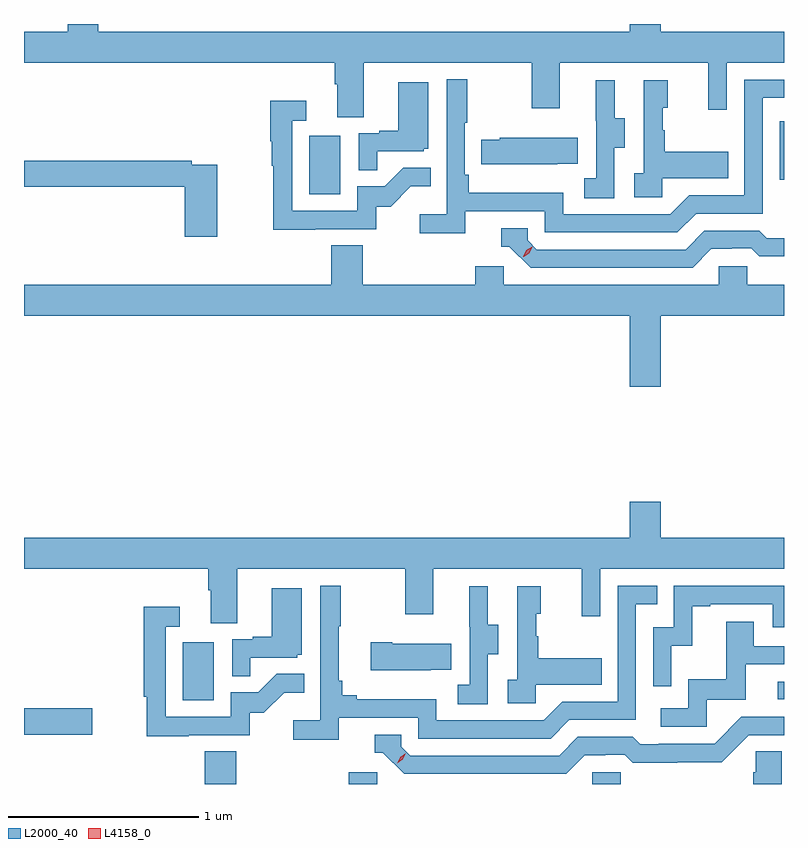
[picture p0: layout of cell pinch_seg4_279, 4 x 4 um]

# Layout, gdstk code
import gdstk
lib = gdstk.Library(unit=1e-6, precision=1e-09)
def R(c, l, rs):  # rectangles x0, y0, x1, y1
    for r in rs: c.add(gdstk.rectangle(r[:2], r[2:], *l))
def P(c, l, *ps):  # polygons
    for p in ps: c.add(gdstk.Polygon(p, *l))
L2000_40 = (2000, 40)
L4158_0 = (4158, 0)

pinch_seg4_279 = lib.new_cell('pinch_seg4_279')
R(pinch_seg4_279, L2000_40, [(894.041,805.012,894.206,805.184), (894.797,805.012,894.948,805.074), (896.079,805.012,896.229,805.074), (893.089,805.27,893.449,805.412), (893.924,805.452,894.088,805.759), (897.057,805.458,897.089,805.551), (894.59,808.116,894.754,808.423), (897.066,808.191,897.089,808.5)])
P(pinch_seg4_279, L2000_40, [(894.877,808.808),(895.762,808.808),(895.762,808.569),(895.909,808.569),(895.909,808.808),(896.69,808.808),(896.69,808.56),(896.787,808.56),(896.787,808.808),(897.089,808.808),(897.089,808.972),(896.44,808.972),(896.44,809.012),(896.276,809.012),(896.276,808.972),(893.48,808.972),(893.48,809.012),(893.32,809.012),(893.32,808.972),(893.089,808.972),(893.089,808.808),(894.725,808.808),(894.725,808.696),(894.737,808.696),(894.737,808.522),(894.877,808.522)],
  [(895.412,808.026),(895.83,808.026),(895.83,807.915),(896.527,807.915),(896.626,808.014),(896.976,808.014),(896.976,808.623),(897.089,808.623),(897.089,808.719),(896.88,808.719),(896.88,808.11),(896.589,808.11),(896.49,808.011),(895.926,808.011),(895.926,808.123),(895.43,808.123),(895.43,808.219),(895.41,808.219),(895.41,808.492),(895.423,808.492),(895.423,808.72),(895.314,808.72),(895.314,808.012),(895.173,808.012),(895.173,807.91),(895.412,807.91)],
  [(896.448,808.199),(896.795,808.199),(896.795,808.339),(896.461,808.339),(896.461,808.454),(896.451,808.454),(896.451,808.572),(896.476,808.572),(896.476,808.717),(896.352,808.717),(896.352,808.226),(896.301,808.226),(896.301,808.101),(896.448,808.101)],
  [(896.196,808.36),(896.251,808.36),(896.251,808.515),(896.197,808.515),(896.197,808.717),(896.099,808.717),(896.099,808.503),(896.1,808.503),(896.1,808.199),(896.037,808.199),(896.037,808.096),(896.196,808.096)],
  [(894.947,808.341),(895.194,808.341),(895.194,808.356),(895.216,808.356),(895.216,808.705),(895.058,808.705),(895.058,808.45),(894.959,808.45),(894.959,808.437),(894.852,808.437),(894.852,808.243),(894.947,808.243)],
  [(894.623,807.933),(894.942,807.933),(894.942,808.05),(895.018,808.05),(895.125,808.157),(895.229,808.157),(895.229,808.256),(895.085,808.256),(894.987,808.158),(894.843,808.158),(894.843,808.029),(894.501,808.029),(894.501,808.503),(894.574,808.503),(894.574,808.609),(894.385,808.609),(894.385,808.396),(894.393,808.396),(894.393,808.266),(894.4,808.266),(894.4,807.928),(894.623,807.928)],
  [(895.895,808.277),(896.003,808.277),(896.003,808.414),(895.593,808.414),(895.593,808.404),(895.495,808.404),(895.495,808.274),(895.895,808.274)],
  [(894.106,808.272),(893.972,808.272),(893.972,808.292),(893.089,808.292),(893.089,808.156),(893.936,808.156),(893.936,807.891),(894.106,807.891)],
  [(896.707,807.828),(896.814,807.828),(896.814,807.831),(896.917,807.831),(896.959,807.789),(897.089,807.789),(897.089,807.885),(896.998,807.885),(896.959,807.924),(896.67,807.924),(896.571,807.825),(895.788,807.825),(895.74,807.873),(895.74,807.936),(895.601,807.936),(895.601,807.84),(895.644,807.84),(895.755,807.729),(896.608,807.729)],
  [(896.44,807.476),(897.089,807.476),(897.089,807.64),(896.895,807.64),(896.895,807.738),(896.745,807.738),(896.745,807.64),(895.614,807.64),(895.614,807.738),(895.463,807.738),(895.463,807.64),(894.872,807.64),(894.872,807.848),(894.707,807.848),(894.707,807.64),(893.089,807.64),(893.089,807.476),(896.276,807.476),(896.276,807.102),(896.44,807.102)],
  [(894.211,806.144),(895.096,806.144),(895.096,805.905),(895.243,805.905),(895.243,806.144),(896.024,806.144),(896.024,805.896),(896.121,805.896),(896.121,806.144),(897.089,806.144),(897.089,806.308),(896.44,806.308),(896.44,806.497),(896.276,806.497),(896.276,806.308),(893.089,806.308),(893.089,806.144),(894.059,806.144),(894.059,806.032),(894.071,806.032),(894.071,805.858),(894.211,805.858)],
  [(894.746,805.362),(895.164,805.362),(895.164,805.251),(895.861,805.251),(895.96,805.35),(896.31,805.35),(896.31,805.959),(896.423,805.959),(896.423,806.055),(896.214,806.055),(896.214,805.446),(895.923,805.446),(895.824,805.347),(895.26,805.347),(895.26,805.459),(894.841,805.459),(894.841,805.478),(894.764,805.478),(894.764,805.555),(894.745,805.555),(894.745,805.843),(894.757,805.843),(894.757,806.056),(894.648,806.056),(894.648,805.348),(894.507,805.348),(894.507,805.246),(894.746,805.246)],
  [(896.496,805.739),(896.606,805.739),(896.606,805.947),(896.701,805.947),(896.701,805.959),(897.03,805.959),(897.03,805.836),(897.089,805.836),(897.089,806.055),(896.508,806.055),(896.508,805.836),(896.4,805.836),(896.4,805.527),(896.496,805.527)],
  [(895.53,805.696),(895.585,805.696),(895.585,805.851),(895.531,805.851),(895.531,806.053),(895.433,806.053),(895.433,805.839),(895.434,805.839),(895.434,805.535),(895.371,805.535),(895.371,805.432),(895.53,805.432)],
  [(895.782,805.535),(896.129,805.535),(896.129,805.675),(895.795,805.675),(895.795,805.79),(895.785,805.79),(895.785,805.908),(895.81,805.908),(895.81,806.053),(895.686,806.053),(895.686,805.562),(895.635,805.562),(895.635,805.437),(895.782,805.437)],
  [(894.281,805.677),(894.528,805.677),(894.528,805.692),(894.55,805.692),(894.55,806.041),(894.392,806.041),(894.392,805.786),(894.293,805.786),(894.293,805.773),(894.186,805.773),(894.186,805.579),(894.281,805.579)],
  [(893.957,805.269),(894.276,805.269),(894.276,805.386),(894.352,805.386),(894.459,805.493),(894.563,805.493),(894.563,805.592),(894.419,805.592),(894.321,805.494),(894.177,805.494),(894.177,805.365),(893.835,805.365),(893.835,805.839),(893.908,805.839),(893.908,805.945),(893.719,805.945),(893.719,805.472),(893.734,805.472),(893.734,805.264),(893.957,805.264)],
  [(896.682,805.455),(896.887,805.455),(896.887,805.641),(897.089,805.641),(897.089,805.737),(896.929,805.737),(896.929,805.867),(896.785,805.867),(896.785,805.564),(896.586,805.564),(896.586,805.41),(896.439,805.41),(896.439,805.314),(896.682,805.314)],
  [(895.229,805.613),(895.337,805.613),(895.337,805.75),(895.027,805.75),(895.027,805.758),(894.915,805.758),(894.915,805.61),(895.229,805.61)],
  [(896.041,805.164),(896.148,805.164),(896.148,805.167),(896.251,805.167),(896.293,805.125),(896.526,805.125),(896.526,805.127),(896.762,805.127),(896.904,805.269),(897.089,805.269),(897.089,805.365),(896.865,805.365),(896.724,805.224),(896.431,805.224),(896.431,805.221),(896.332,805.221),(896.293,805.26),(896.004,805.26),(895.905,805.161),(895.122,805.161),(895.074,805.209),(895.074,805.272),(894.935,805.272),(894.935,805.176),(894.978,805.176),(895.089,805.065),(895.942,805.065)],
  [(897.078,805.184),(896.941,805.184),(896.941,805.074),(896.927,805.074),(896.927,805.012),(897.078,805.012)])
P(pinch_seg4_279, L4158_0, [(895.717,807.787),(895.717,807.787),(895.733,807.82),(895.763,807.84),(895.764,807.84),(895.764,807.839),(895.748,807.806),(895.718,807.787)],
  [(895.053,805.121),(895.053,805.122),(895.068,805.154),(895.099,805.174),(895.099,805.174),(895.099,805.174),(895.083,805.141),(895.053,805.121)])

lib.write_gds('pinch_seg4_279.gds')
